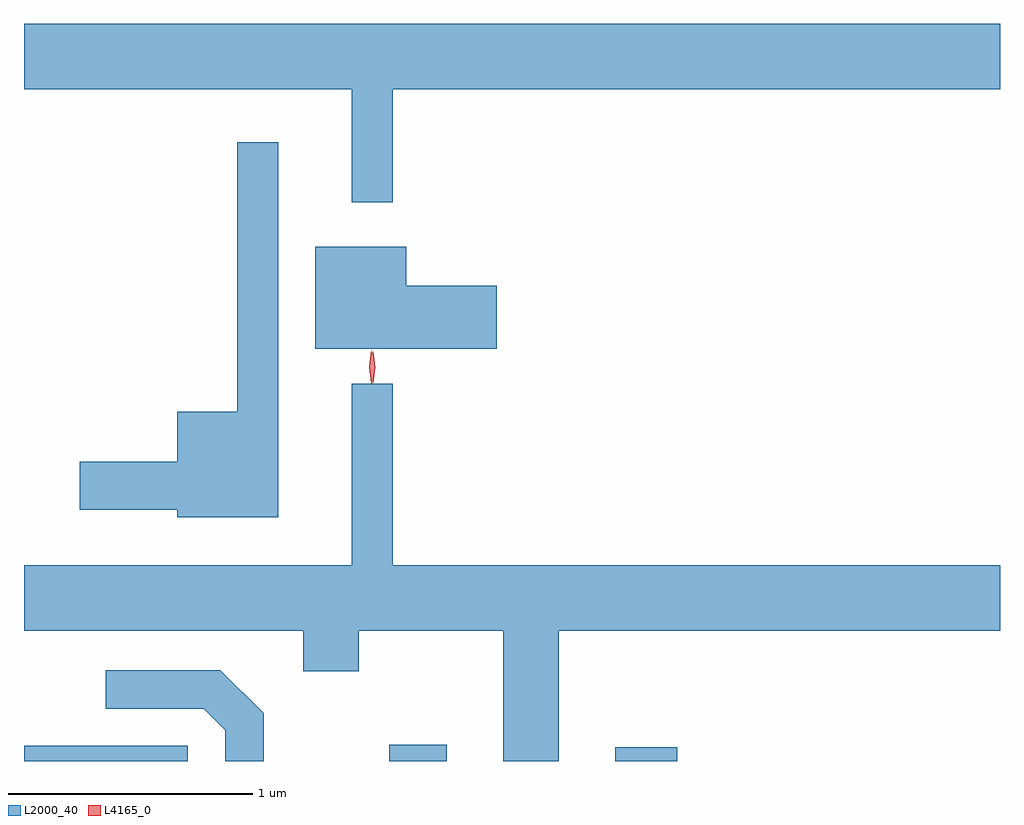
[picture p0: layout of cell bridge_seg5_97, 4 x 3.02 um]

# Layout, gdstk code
import gdstk
lib = gdstk.Library(unit=1e-6, precision=1e-09)
def R(c, l, rs):  # rectangles x0, y0, x1, y1
    for r in rs: c.add(gdstk.rectangle(r[:2], r[2:], *l))
def P(c, l, *ps):  # polygons
    for p in ps: c.add(gdstk.Polygon(p, *l))
L2000_40 = (2000, 40)
L4165_0 = (4165, 0)

bridge_seg5_97 = lib.new_cell('bridge_seg5_97')
R(bridge_seg5_97, L2000_40, [(1157.797,1478.461,1158.469,1478.524), (1159.293,1478.461,1159.529,1478.529), (1160.221,1478.461,1160.474,1478.519)])
P(bridge_seg5_97, L2000_40, [(1159.309,1481.216),(1161.797,1481.216),(1161.797,1481.484),(1157.797,1481.484),(1157.797,1481.216),(1159.141,1481.216),(1159.141,1480.753),(1159.309,1480.753)],
  [(1158.839,1480.998),(1158.671,1480.998),(1158.671,1479.894),(1158.426,1479.894),(1158.426,1479.689),(1158.026,1479.689),(1158.026,1479.491),(1158.426,1479.491),(1158.426,1479.461),(1158.839,1479.461)],
  [(1159.734,1480.409),(1159.364,1480.409),(1159.364,1480.569),(1158.991,1480.569),(1158.991,1480.151),(1159.734,1480.151)],
  [(1159.989,1478.996),(1161.797,1478.996),(1161.797,1479.264),(1159.309,1479.264),(1159.309,1480.008),(1159.141,1480.008),(1159.141,1479.264),(1157.797,1479.264),(1157.797,1478.996),(1158.941,1478.996),(1158.941,1478.831),(1159.169,1478.831),(1159.169,1478.996),(1159.761,1478.996),(1159.761,1478.461),(1159.989,1478.461)],
  [(1158.779,1478.657),(1158.602,1478.834),(1158.133,1478.834),(1158.133,1478.676),(1158.534,1478.676),(1158.621,1478.589),(1158.621,1478.461),(1158.779,1478.461)])
P(bridge_seg5_97, L4165_0, [(1159.227,1480.013),(1159.227,1480.013),(1159.217,1480.076),(1159.227,1480.139),(1159.227,1480.14),(1159.228,1480.139),(1159.237,1480.076),(1159.228,1480.013)],
  [(1159.221,1480.01),(1159.211,1480.078),(1159.22,1480.146),(1159.22,1480.146),(1159.221,1480.146),(1159.231,1480.078),(1159.222,1480.01),(1159.222,1480.01)])

lib.write_gds('bridge_seg5_97.gds')
